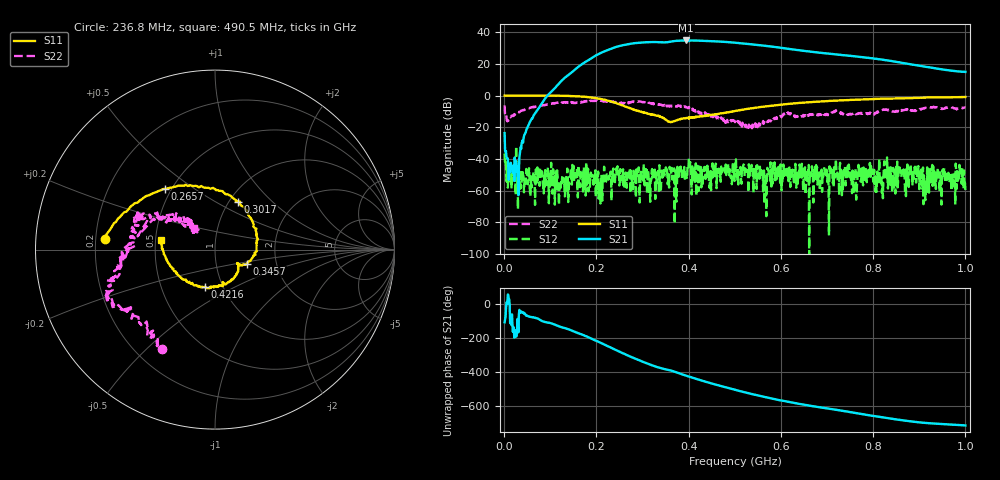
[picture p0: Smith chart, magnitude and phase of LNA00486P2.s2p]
! Created with skrf 1.9.0 (http://scikit-rf.org).
# Hz S RI R 50.0
!freq ReS11 ImS11 ReS21 ImS21 ReS12 ImS12 ReS22 ImS22
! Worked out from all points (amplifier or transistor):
!   1001 points, 1 MHz to 1 GHz, reference 50 ohm
!   highest |S21| = 34.9 dB at 394.6 MHz (marker M1)
!   |S21| within 3 dB of that: 257.3 MHz to 554.4 MHz (297.1 MHz wide, 73.2 % of centre)
!   unconditionally stable (mu >= 1): 161.4 MHz to 171.7 MHz; 190.8 MHz to 236.6 MHz; 236.9 MHz to end of sweep (the widest 3 of 42)
!   at 166.8 MHz: K = 2.01, MAG = 29.7 dB, |S12| = -51.3 dB
!   at 500.5 MHz: K = 1.43, MAG = 34.3 dB, |S12| = -42.8 dB
!   at 1 GHz: K = 13.22, MAG = 23.1 dB, |S12| = -59.7 dB
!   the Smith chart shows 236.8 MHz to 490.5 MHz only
!   S11 on the Smith chart (normalised r, x): 236.8 MHz: 0.24, +0.05; 265.7 MHz: 0.46, +0.39; 301.7 MHz: 1.09, +0.64; 345.7 MHz: 1.41, -0.23; 421.6 MHz: 0.83, -0.36; 490.5 MHz: 0.53, +0.06
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1000000  1.004 0.0075  -0.0177 -0.0631  -0.0123 -0.00807  0.3322 0.3579
1.08892e8  0.5264 -0.8462  -0.7932 -1.48  0.000449 -0.00323  0.4216 -0.3716
1.67833e8  -0.225 -0.9063  -9.658 -0.5878  -0.00306 -0.00143  0.0252 -0.6382
2.07793e8  -0.6636 -0.4283  -15.63 15.07  -0.000904 -0.000794  -0.1982 -0.6717
2.36764e8  -0.6102 0.0588  -4.97 32.04  0.00455 -0.002  -0.2946 -0.5521
2.65735e8  -0.2783 0.3383  19.05 36.48  -0.000655 -0.00103  -0.4652 -0.3854
2.82718e8  -0.0635 0.3464  33.28 30.69  -0.00161 -0.000569  -0.5767 -0.2708
3.01699e8  0.1261 0.2675  44.59 17.5  -0.00202 0.000363  -0.5915 -0.2045
3.34666e8  0.2322 -0.00944  48.01 -9.56  -0.00311 0.00395  -0.5114 -0.0313
3.45655e8  0.1777 -0.0791  45.39 -15.87  -0.000775 0.00333  -0.4879 0.00633
3.7063e8  0.13 -0.0912  42.74 -31.92  -0.000181 0.00254  -0.437 0.1552
3.94606e8  0.0794 -0.1808  28.3 -47.56  0.00116 0.0029  -0.3978 0.1696
4.21579e8  -0.0544 -0.2072  7.335 -53.93  0.0009 0.000353  -0.2665 0.1663
4.53547e8  -0.2132 -0.1348  -15.79 -49.97  0.00152 0.00394  -0.1705 0.1344
4.9051e8  -0.3029 0.0509  -34.2 -33.91  0.00339 3.41e-05  -0.1143 0.1177
5.005e8  -0.3089 0.11  -37.38 -28.68  0.00642 0.00327  -0.1044 0.1004
5.39461e8  -0.2442 0.3203  -40.49 -8.191  0.00275 -0.00266  -0.1042 -0.0156
5.85415e8  -0.0601 0.4877  -33.23 9.89  0.00346 -0.00308  -0.177 -0.0354
6.67333e8  0.3263 0.5361  -12.83 20.35  0.00271 -0.00521  -0.2545 0.0147
7.65235e8  0.663 0.3387  3.03 16.79  -0.0016 -0.000788  -0.2503 0.0761
8.34166e8  0.7888 0.1443  8.143 9.771  -0.00409 -0.00435  -0.3432 0.0759
1e9  0.8155 -0.3913  5.56 0.815  -0.000827 -0.000623  -0.1895 0.3673
